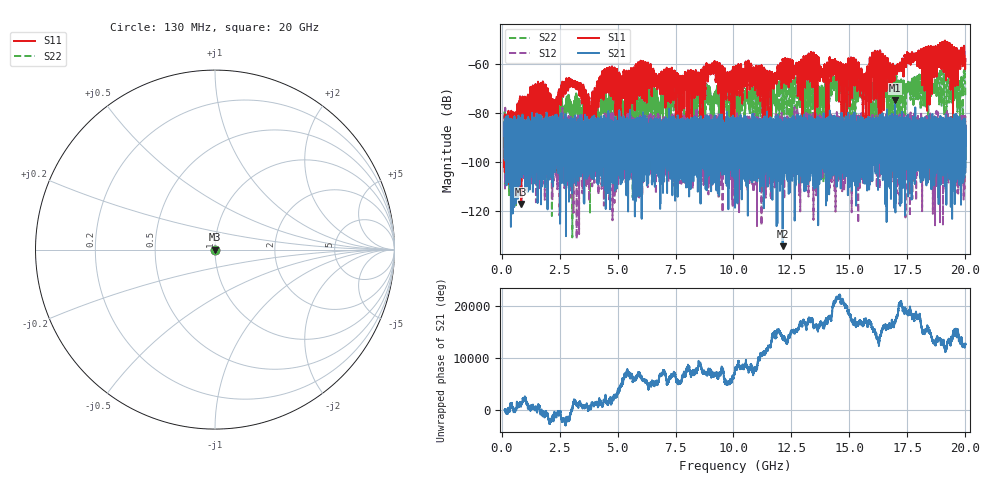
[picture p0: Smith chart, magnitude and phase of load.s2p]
!Created with skrf (http://scikit-rf.org).
# GHz S RI R 50.0
!freq ReS11 ImS11 ReS21 ImS21 ReS12 ImS12 ReS22 ImS22
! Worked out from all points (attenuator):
!   20013 points, 130 MHz to 20 GHz, reference 50 ohm
!   highest |S21| = -74.73 dB at 16.97 GHz (marker M1); lowest = -134.2 dB at 12.12 GHz (marker M2)
!   lowest |S11| = -116.9 dB at 849 MHz (marker M3), VSWR 1.00, Z = 50 + j3.98e-05 ohm
!   |S11| at or under -10 dB: start of sweep to end of sweep
!   |S22| runs from -130.6 to -61.2 dB; largest |S21 - S12| = 0.00018
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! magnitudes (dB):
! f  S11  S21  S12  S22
! 130 MHz  -86.6  -83.6  -84.5  -92.6
! 849 MHz  -116.9  -97.1  -91.3  -89.3
! 2.34 GHz  -79.9  -89.3  -89.0  -90.8
! 3.442 GHz  -72.6  -95.6  -92.9  -79.9
! 3.765 GHz  -80.4  -100.3  -88.4  -78.3
! 4.596 GHz  -70.6  -87.5  -83.5  -77.7
! 5.302 GHz  -66.1  -101.7  -96.5  -82.2
! 6.177 GHz  -63.6  -92.7  -92.3  -76.4
! 6.754 GHz  -65.4  -92.7  -94.9  -84.3
! 8.603 GHz  -63.6  -86.9  -82.7  -71.2
! 9.122 GHz  -63.3  -93.5  -93.4  -84.3
! 10.06 GHz  -66.1  -85.9  -83.6  -69.7
! 11.55 GHz  -63.5  -102.4  -97.7  -67.9
! 12.12 GHz  -58.3  -134.2  -92.1  -69.7
! 13.38 GHz  -57.9  -84.7  -94.0  -67.3
! 14.73 GHz  -61.2  -104.1  -90.1  -66.4
! 15.23 GHz  -68.7  -93.9  -89.7  -79.0
! 15.64 GHz  -65.5  -87.6  -89.1  -67.0
! 16.05 GHz  -74.5  -89.3  -87.9  -72.5
! 16.69 GHz  -65.9  -91.2  -91.8  -67.8
! 16.97 GHz  -61.9  -74.7  -82.1  -86.8
! 20 GHz  -57.9  -93.4  -86.2  -71.1
